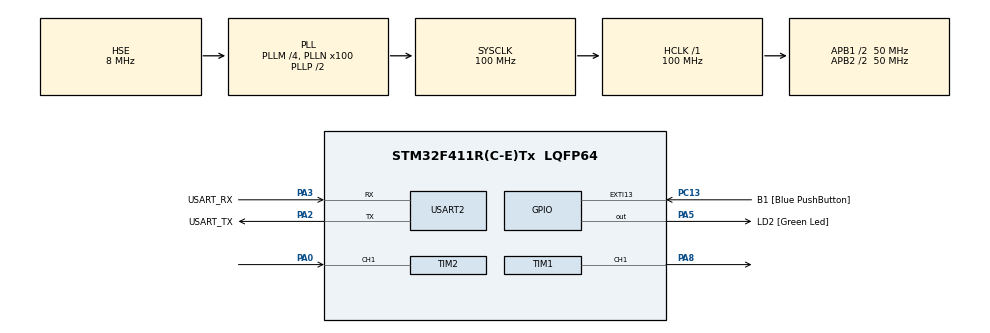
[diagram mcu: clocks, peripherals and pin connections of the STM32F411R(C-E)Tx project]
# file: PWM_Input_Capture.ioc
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Mcu.Family=STM32F4
Mcu.Name=STM32F411R(C-E)Tx
Mcu.Package=LQFP64
NVIC.PriorityGroup=NVIC_PRIORITYGROUP_0
NVIC.TIM2_IRQn=true\:0\:0\:false\:false\:true\:true\:true\:true
PA0-WKUP.Signal=S_TIM2_CH1_ETR
PA13.GPIO_Label=TMS
PA13.Mode=Serial_Wire
PA13.Signal=SYS_JTMS-SWDIO
PA14.GPIO_Label=TCK
PA14.Mode=Serial_Wire
PA14.Signal=SYS_JTCK-SWCLK
PA2.GPIO_Label=USART_TX
PA2.Mode=Asynchronous
PA2.Signal=USART2_TX
PA3.GPIO_Label=USART_RX
PA3.Mode=Asynchronous
PA3.Signal=USART2_RX
PA5.GPIO_Label=LD2 [Green Led]
PA5.Signal=GPIO_Output
PA8.Signal=S_TIM1_CH1
PB3.GPIO_Label=SWO
PB3.Signal=SYS_JTDO-SWO
PC13-ANTI_TAMP.GPIO_Label=B1 [Blue PushButton]
PC13-ANTI_TAMP.GPIO_ModeDefaultEXTI=GPIO_MODE_IT_FALLING
PC13-ANTI_TAMP.Signal=GPXTI13
PC14-OSC32_IN.Signal=RCC_OSC32_IN
PC15-OSC32_OUT.Signal=RCC_OSC32_OUT
PH0\ -\ OSC_IN.Mode=HSE-External-Oscillator
PH0\ -\ OSC_IN.Signal=RCC_OSC_IN
PH1\ -\ OSC_OUT.Mode=HSE-External-Oscillator
PH1\ -\ OSC_OUT.Signal=RCC_OSC_OUT
ProjectManager.HeapSize=0x200
ProjectManager.StackSize=0x400
ProjectManager.TargetToolchain=STM32CubeIDE
RCC.48MHZClocksFreq_Value=50000000
RCC.AHBFreq_Value=100000000
RCC.APB1CLKDivider=RCC_HCLK_DIV2
RCC.APB1Freq_Value=50000000
RCC.APB1TimFreq_Value=100000000
RCC.APB2CLKDivider=RCC_HCLK_DIV2
RCC.APB2Freq_Value=50000000
RCC.APB2TimFreq_Value=100000000
RCC.CortexFreq_Value=100000000
RCC.FLatency-AdvancedSettings=FLASH_LATENCY_3
RCC.HCLKFreq_Value=100000000
RCC.HSE_VALUE=8000000
RCC.HSI_VALUE=16000000
RCC.PLLM=4
RCC.PLLN=100
RCC.PLLSourceVirtual=RCC_PLLSOURCE_HSE
RCC.SYSCLKFreq_VALUE=100000000
RCC.SYSCLKSource=RCC_SYSCLKSOURCE_PLLCLK
RCC.VCOOutputFreq_Value=200000000
SH.S_TIM1_CH1.0=TIM1_CH1,PWM Generation1 CH1
SH.S_TIM2_CH1_ETR.0=TIM2_CH1,Input_Capture1_from_TI1
TIM1.Channel-PWM\ Generation1\ CH1=TIM_CHANNEL_1
TIM1.Period=100-1
TIM1.Prescaler=100-1
TIM2.Channel-Input_Capture1_from_TI1=TIM_CHANNEL_1
TIM2.Prescaler=100-1
USART2.VirtualMode=VM_ASYNC
VP_TIM1_VS_ClockSourceINT.Mode=Internal
VP_TIM2_VS_ClockSourceINT.Mode=Internal
board=NUCLEO-F411RE

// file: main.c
/* USER CODE BEGIN Header */
/**
  ******************************************************************************
  * @file           : main.c
  * @brief          : Main program body
  ******************************************************************************
  * @attention
  *
  * Copyright (c) 2024 STMicroelectronics.
  * All rights reserved.
  *
  * This software is licensed under terms that can be found in the LICENSE file
  * in the root directory of this software component.
  * If no LICENSE file comes with this software, it is provided AS-IS.
  *
  ******************************************************************************
  */
/* USER CODE END Header */
#include "main.h"

/* USER CODE BEGIN PM */

#define TIMCLOCK 100000000
#define PRESCALAR 100

/* USER CODE END PM */

TIM_HandleTypeDef htim1;
TIM_HandleTypeDef htim2;

UART_HandleTypeDef huart2;

void SystemClock_Config(void);
static void MX_GPIO_Init(void);
static void MX_USART2_UART_Init(void);
static void MX_TIM1_Init(void);
static void MX_TIM2_Init(void);

/* USER CODE BEGIN 0 */

uint32_t IC_val1 = 0, IC_val2 = 0, frequency = 0, difference = 0;
bool is_first_captured = false;
float usWidth = 0;

void HAL_TIM_IC_CaptureCallback(TIM_HandleTypeDef *htim)
{
	if (htim->Channel == HAL_TIM_ACTIVE_CHANNEL_1)
	{
		if (!is_first_captured)
		{
			IC_val1 = HAL_TIM_ReadCapturedValue(htim, TIM_CHANNEL_1);
			is_first_captured = true;
		}

		else {
			IC_val2 = HAL_TIM_ReadCapturedValue(htim, TIM_CHANNEL_1);

			if (IC_val2 > IC_val1)
			{
				difference = IC_val2 - IC_val1;
			}
			else
			{
				difference = IC_val1 - IC_val2;
			}

			float refClock = TIMCLOCK / (PRESCALAR);
			float mFactor = 1000000 / refClock;

			usWidth = difference * mFactor;

			frequency = refClock / difference;

			__HAL_TIM_SET_COUNTER(htim, 0);
			is_first_captured = false;
		}
	}
}

/* USER CODE END 0 */

int main(void)
{

  /* MCU Configuration--------------------------------------------------------*/

  /* Reset of all peripherals, Initializes the Flash interface and the Systick. */
  HAL_Init();

  /* Configure the system clock */
  SystemClock_Config();

  /* Initialize all configured peripherals */
  MX_GPIO_Init();
  MX_USART2_UART_Init();
  MX_TIM1_Init();
  MX_TIM2_Init();
  /* USER CODE BEGIN 2 */

  TIM1->CCR1 = 50;
  HAL_TIM_PWM_Start(&htim1, TIM_CHANNEL_1);
  HAL_TIM_IC_Start_IT(&htim2, TIM_CHANNEL_1);

  /* USER CODE END 2 */

  /* Infinite loop */
  while (1)
  {

	  HAL_Delay(1000);

  }
}

void SystemClock_Config(void)
{
  RCC_OscInitTypeDef RCC_OscInitStruct = {0};
  RCC_ClkInitTypeDef RCC_ClkInitStruct = {0};

  /** Configure the main internal regulator output voltage
  */
  __HAL_RCC_PWR_CLK_ENABLE();
  __HAL_PWR_VOLTAGESCALING_CONFIG(PWR_REGULATOR_VOLTAGE_SCALE1);

  /** Initializes the RCC Oscillators according to the specified parameters
  * in the RCC_OscInitTypeDef structure.
  */
  RCC_OscInitStruct.OscillatorType = RCC_OSCILLATORTYPE_HSE;
  RCC_OscInitStruct.HSEState = RCC_HSE_ON;
  RCC_OscInitStruct.PLL.PLLState = RCC_PLL_ON;
  RCC_OscInitStruct.PLL.PLLSource = RCC_PLLSOURCE_HSE;
  RCC_OscInitStruct.PLL.PLLM = 4;
  RCC_OscInitStruct.PLL.PLLN = 100;
  RCC_OscInitStruct.PLL.PLLP = RCC_PLLP_DIV2;
  RCC_OscInitStruct.PLL.PLLQ = 4;
  if (HAL_RCC_OscConfig(&RCC_OscInitStruct) != HAL_OK)
  {
    Error_Handler();
  }

  /** Initializes the CPU, AHB and APB buses clocks
  */
  RCC_ClkInitStruct.ClockType = RCC_CLOCKTYPE_HCLK|RCC_CLOCKTYPE_SYSCLK
                              |RCC_CLOCKTYPE_PCLK1|RCC_CLOCKTYPE_PCLK2;
  RCC_ClkInitStruct.SYSCLKSource = RCC_SYSCLKSOURCE_PLLCLK;
  RCC_ClkInitStruct.AHBCLKDivider = RCC_SYSCLK_DIV1;
  RCC_ClkInitStruct.APB1CLKDivider = RCC_HCLK_DIV2;
  RCC_ClkInitStruct.APB2CLKDivider = RCC_HCLK_DIV2;

  if (HAL_RCC_ClockConfig(&RCC_ClkInitStruct, FLASH_LATENCY_3) != HAL_OK)
  {
    Error_Handler();
  }
}

static void MX_TIM1_Init(void)
{

  TIM_ClockConfigTypeDef sClockSourceConfig = {0};
  TIM_MasterConfigTypeDef sMasterConfig = {0};
  TIM_OC_InitTypeDef sConfigOC = {0};
  TIM_BreakDeadTimeConfigTypeDef sBreakDeadTimeConfig = {0};

  htim1.Instance = TIM1;
  htim1.Init.Prescaler = 100-1;
  htim1.Init.CounterMode = TIM_COUNTERMODE_UP;
  htim1.Init.Period = 100-1;
  htim1.Init.ClockDivision = TIM_CLOCKDIVISION_DIV1;
  htim1.Init.RepetitionCounter = 0;
  htim1.Init.AutoReloadPreload = TIM_AUTORELOAD_PRELOAD_DISABLE;
  if (HAL_TIM_Base_Init(&htim1) != HAL_OK)
  {
    Error_Handler();
  }
  sClockSourceConfig.ClockSource = TIM_CLOCKSOURCE_INTERNAL;
  if (HAL_TIM_ConfigClockSource(&htim1, &sClockSourceConfig) != HAL_OK)
  {
    Error_Handler();
  }
  if (HAL_TIM_PWM_Init(&htim1) != HAL_OK)
  {
    Error_Handler();
  }
  sMasterConfig.MasterOutputTrigger = TIM_TRGO_RESET;
  sMasterConfig.MasterSlaveMode = TIM_MASTERSLAVEMODE_DISABLE;
  if (HAL_TIMEx_MasterConfigSynchronization(&htim1, &sMasterConfig) != HAL_OK)
  {
    Error_Handler();
  }
  sConfigOC.OCMode = TIM_OCMODE_PWM1;
  sConfigOC.Pulse = 0;
  sConfigOC.OCPolarity = TIM_OCPOLARITY_HIGH;
  sConfigOC.OCNPolarity = TIM_OCNPOLARITY_HIGH;
  sConfigOC.OCFastMode = TIM_OCFAST_DISABLE;
  sConfigOC.OCIdleState = TIM_OCIDLESTATE_RESET;
  sConfigOC.OCNIdleState = TIM_OCNIDLESTATE_RESET;
  if (HAL_TIM_PWM_ConfigChannel(&htim1, &sConfigOC, TIM_CHANNEL_1) != HAL_OK)
  {
    Error_Handler();
  }
  sBreakDeadTimeConfig.OffStateRunMode = TIM_OSSR_DISABLE;
  sBreakDeadTimeConfig.OffStateIDLEMode = TIM_OSSI_DISABLE;
  sBreakDeadTimeConfig.LockLevel = TIM_LOCKLEVEL_OFF;
  sBreakDeadTimeConfig.DeadTime = 0;
  sBreakDeadTimeConfig.BreakState = TIM_BREAK_DISABLE;
  sBreakDeadTimeConfig.BreakPolarity = TIM_BREAKPOLARITY_HIGH;
  sBreakDeadTimeConfig.AutomaticOutput = TIM_AUTOMATICOUTPUT_DISABLE;
  if (HAL_TIMEx_ConfigBreakDeadTime(&htim1, &sBreakDeadTimeConfig) != HAL_OK)
  {
    Error_Handler();
  }
  HAL_TIM_MspPostInit(&htim1);

}

static void MX_TIM2_Init(void)
{

  TIM_ClockConfigTypeDef sClockSourceConfig = {0};
  TIM_MasterConfigTypeDef sMasterConfig = {0};
  TIM_IC_InitTypeDef sConfigIC = {0};

  htim2.Instance = TIM2;
  htim2.Init.Prescaler = 100-1;
  htim2.Init.CounterMode = TIM_COUNTERMODE_UP;
  htim2.Init.Period = 4294967295;
  htim2.Init.ClockDivision = TIM_CLOCKDIVISION_DIV1;
  htim2.Init.AutoReloadPreload = TIM_AUTORELOAD_PRELOAD_DISABLE;
  if (HAL_TIM_Base_Init(&htim2) != HAL_OK)
  {
    Error_Handler();
  }
  sClockSourceConfig.ClockSource = TIM_CLOCKSOURCE_INTERNAL;
  if (HAL_TIM_ConfigClockSource(&htim2, &sClockSourceConfig) != HAL_OK)
  {
    Error_Handler();
  }
  if (HAL_TIM_IC_Init(&htim2) != HAL_OK)
  {
    Error_Handler();
  }
  sMasterConfig.MasterOutputTrigger = TIM_TRGO_RESET;
  sMasterConfig.MasterSlaveMode = TIM_MASTERSLAVEMODE_DISABLE;
  if (HAL_TIMEx_MasterConfigSynchronization(&htim2, &sMasterConfig) != HAL_OK)
  {
    Error_Handler();
  }
  sConfigIC.ICPolarity = TIM_INPUTCHANNELPOLARITY_RISING;
  sConfigIC.ICSelection = TIM_ICSELECTION_DIRECTTI;
  sConfigIC.ICPrescaler = TIM_ICPSC_DIV1;
  sConfigIC.ICFilter = 0;
  if (HAL_TIM_IC_ConfigChannel(&htim2, &sConfigIC, TIM_CHANNEL_1) != HAL_OK)
  {
    Error_Handler();
  }

}

static void MX_USART2_UART_Init(void)
{

  huart2.Instance = USART2;
  huart2.Init.BaudRate = 115200;
  huart2.Init.WordLength = UART_WORDLENGTH_8B;
  huart2.Init.StopBits = UART_STOPBITS_1;
  huart2.Init.Parity = UART_PARITY_NONE;
  huart2.Init.Mode = UART_MODE_TX_RX;
  huart2.Init.HwFlowCtl = UART_HWCONTROL_NONE;
  huart2.Init.OverSampling = UART_OVERSAMPLING_16;
  if (HAL_UART_Init(&huart2) != HAL_OK)
  {
    Error_Handler();
  }

}

static void MX_GPIO_Init(void)
{
  GPIO_InitTypeDef GPIO_InitStruct = {0};

  /* GPIO Ports Clock Enable */
  __HAL_RCC_GPIOC_CLK_ENABLE();
  __HAL_RCC_GPIOH_CLK_ENABLE();
  __HAL_RCC_GPIOA_CLK_ENABLE();
  __HAL_RCC_GPIOB_CLK_ENABLE();

  /*Configure GPIO pin Output Level */
  HAL_GPIO_WritePin(LD2_GPIO_Port, LD2_Pin, GPIO_PIN_RESET);

  /*Configure GPIO pin : B1_Pin */
  GPIO_InitStruct.Pin = B1_Pin;
  GPIO_InitStruct.Mode = GPIO_MODE_IT_FALLING;
  GPIO_InitStruct.Pull = GPIO_NOPULL;
  HAL_GPIO_Init(B1_GPIO_Port, &GPIO_InitStruct);

  /*Configure GPIO pin : LD2_Pin */
  GPIO_InitStruct.Pin = LD2_Pin;
  GPIO_InitStruct.Mode = GPIO_MODE_OUTPUT_PP;
  GPIO_InitStruct.Pull = GPIO_NOPULL;
  GPIO_InitStruct.Speed = GPIO_SPEED_FREQ_LOW;
  HAL_GPIO_Init(LD2_GPIO_Port, &GPIO_InitStruct);

}

void Error_Handler(void)
{
  __disable_irq();
  while (1)
  {
  }
}
